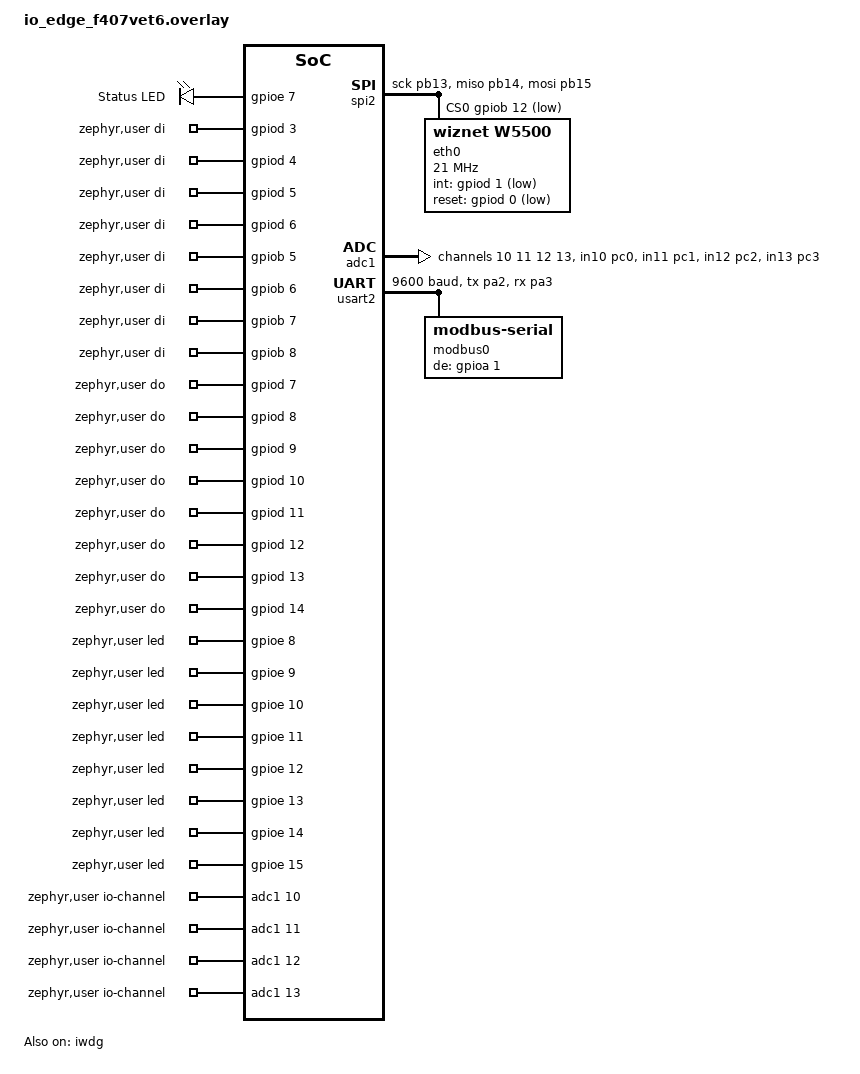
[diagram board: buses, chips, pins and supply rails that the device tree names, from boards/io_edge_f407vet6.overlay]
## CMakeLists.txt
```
# SPDX-License-Identifier: Apache-2.0

cmake_minimum_required(VERSION 3.20.0)

find_package(Zephyr REQUIRED HINTS $ENV{ZEPHYR_BASE})
project(canopen_io)

target_include_directories(app PRIVATE
  include
  src
  src/sys
  src/storage
  src/ftp_server
  src/web
)

target_sources(app PRIVATE
  src/main.c
  src/app_od.c
  src/fw_download.c
  src/fw_upgrade_state.c
  src/io/dio.c
  src/io/adc.c
  src/history/history.c
  src/settings/init.c
  src/modbus/function.c
  src/modbus/tcp.c
  src/modbus/rtu.c
  src/udp.c
  src/storage/fs_littlefs.c
  src/sys/time.c
  src/sys/watchdog.c
  src/ftp_server/ftpd.c
  objdict/OD.c
)

# 临时带宽测试端点: 仅在 CONFIG_CANOPEN_IO_BW_TEST 启用时编译
target_sources_ifdef(CONFIG_CANOPEN_IO_BW_TEST app PRIVATE src/bwtest.c)

# 应用调试 shell (io 命令), 依赖 SHELL (release 下自动裁剪)
target_sources_ifdef(CONFIG_CANOPEN_IO_SHELL app PRIVATE src/shell.c)

# Web 服务 (HTTP 页面 + REST + WebSocket), CONFIG_CANOPEN_IO_WEB 总开关
if(CONFIG_CANOPEN_IO_WEB)
  target_sources(app PRIVATE
    src/web/httpd.c
    src/web/ws_io.c
  )

  # Web UI: index.html → minify → gzip → .inc (编译进固件, HTTP 静态资源)
  set(gen_dir ${ZEPHYR_BINARY_DIR}/include/generated)
  set(min_html ${CMAKE_CURRENT_BINARY_DIR}/web_index_min.html)

  add_custom_command(OUTPUT ${min_html}
    COMMAND ${PYTHON_EXECUTABLE} ${CMAKE_CURRENT_SOURCE_DIR}/scripts/minify_html.py
            ${CMAKE_CURRENT_SOURCE_DIR}/src/web/index.html > ${min_html}
    DEPENDS ${CMAKE_CURRENT_SOURCE_DIR}/src/web/index.html
            ${CMAKE_CURRENT_SOURCE_DIR}/scripts/minify_html.py
    COMMENT "Minifying index.html"
  )
  add_custom_target(web_index_min DEPENDS ${min_html})

  generate_inc_file_for_target(app
    ${min_html}
    ${gen_dir}/web_index_html_gz.inc
    --gzip
  )

  # HTTP 资源描述 iterable section (服务 canopen_web 对应的链接段)
  zephyr_linker_sources(SECTIONS src/web/sections-rom.ld)
endif()

zephyr_include_directories(objdict)
```

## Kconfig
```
# SPDX-License-Identifier: Apache-2.0
# canopen-io application configuration

mainmenu "canopen-io"

source "Kconfig.zephyr"

# ==================== Modbus 寄存器数量 ====================
config MODBUS_HOLDING_REGISTER_NUMBERS
	int "Number of Modbus holding registers"
	default 16
	help
	  Size of the holding_reg[] array (16 holding registers, see include/init.h).

config MODBUS_INPUT_REGISTER_NUMBERS
	int "Number of Modbus input registers"
	default 6

# ==================== 采样线程 ====================
config CANOPEN_IO_DI_STACK_SIZE
	int "DI sampling thread stack size"
	default 512

config CANOPEN_IO_DI_PRIORITY
	int "DI sampling thread priority"
	default 2

config CANOPEN_IO_ADC_STACK_SIZE
	int "AI sampling thread stack size"
	default 512

config CANOPEN_IO_ADC_PRIORITY
	int "AI sampling thread priority"
	default 2

config CANOPEN_IO_INIT_PRIORITY_IO
	int "Digital/analog IO init priority"
	default 12

# ==================== 采样间隔钳位 ====================
config CANOPEN_IO_SAMPLE_MIN_MS
	int "Minimum sampling interval in ms"
	default 10

config CANOPEN_IO_SAMPLE_MAX_MS
	int "Maximum sampling interval in ms"
	default 5000

# ==================== 固件下载 ====================
config CANOPEN_IO_FW_REBOOT_DELAY_MS
	int "Delay before reboot after firmware confirm (ms)"
	default 500
	help
	  Grace period after writing 1 to OD 0x1F51 (firmware control),
	  so the SDO response and pending CAN traffic can flush before
	  the MCUboot swap reboot.

# ==================== SYS_INIT 优先级 ====================
config CANOPEN_IO_INIT_PRIORITY_FW_UPGRADE
	int "Firmware upgrade mutex init priority"
	default 3

config CANOPEN_IO_INIT_PRIORITY_HIST_WORKQ
	int "History work queue init priority"
	default 5

config CANOPEN_IO_INIT_PRIORITY_SETTINGS
	int "Settings subsystem init priority"
	default 8

config CANOPEN_IO_INIT_PRIORITY_RTU
	int "Modbus RTU init priority"
	default 13

config CANOPEN_IO_INIT_PRIORITY_CLOCK
	int "RTC clock init priority"
	default 41

config CANOPEN_IO_INIT_PRIORITY_WATCHDOG
	int "Watchdog init priority"
	default 50

config CANOPEN_IO_INIT_PRIORITY_WS
	int "WebSocket slots init priority"
	default 60

config CANOPEN_IO_INIT_PRIORITY_UDP
	int "UDP app handler init priority"
	default 80

config CANOPEN_IO_INIT_PRIORITY_LITTLEFS
	int "LittleFS init priority"
	default 99

# ==================== Modbus TCP ====================
config CANOPEN_IO_MODBUS_TCP_STACK
	int "Modbus TCP server thread stack size"
	default 2048

config CANOPEN_IO_MODBUS_TCP_PRIORITY
	int "Modbus TCP server thread priority"
	default 13

config CANOPEN_IO_MODBUS_TCP_SESSION_TIMEOUT
	bool "Close idle Modbus TCP client sessions"
	default n
	help
	  Enable application-level session timeout: client connections
	  idle for more than 60s are closed by the server. Disabled by
	  default; idle connections are then only handled by TCP
	  keepalive (SO_KEEPALIVE, ~45s probe cycle). Enable only if a
	  master misbehaves and holds connections without keepalive
	  support.

# ==================== FTP ====================
config CANOPEN_IO_FTP_STACK_SIZE
	int "FTP server thread stack size"
	default 4096

config CANOPEN_IO_FTP_PRIORITY
	int "FTP server thread priority"
	default 13

# ==================== Web 服务 (HTTP + WebSocket) ====================
menuconfig CANOPEN_IO_WEB
	bool "Enable web UI (HTTP server + REST API + WebSocket)"
	default y
	select HTTP_SERVER
	select HTTP_SERVER_WEBSOCKET
	help
	  Web management interface: embedded SPA page, REST API
	  (/api/*), WebSocket realtime push (/ws) and WebSocket firmware
	  upgrade. Disable to shrink image/RAM (~100KB flash, ~30KB RAM).

if CANOPEN_IO_WEB

config CANOPEN_IO_WEB_PORT
	int "Web server HTTP port"
	default 80
	help
	  HTTP server listen port for the web UI and REST API.

config CANOPEN_IO_WEB_WS_HANDLERS
	int "Number of concurrent WebSocket connections"
	default 1
	range 1 2
	help
	  Note the HTTP server websocket resource uses one shared parsing
	  buffer, so concurrent connections must be limited to 1.

config CANOPEN_IO_WEB_WS_STACK_SIZE
	int "WebSocket handler thread stack size"
	default 2048
	help
	  websocket_send_msg/recv_msg call chain is deep (PSA SHA-1,
	  TCP retry). 1152 causes stack canary fault -> warm reboot.

# ---- Zephyr HTTP 服务器参数覆盖 (默认值偏大, 按本应用裁剪省 RAM) ----

config HTTP_SERVER_VERSION_1
	default y

config HTTP_SERVER_VERSION_2
	default n

config HTTP_SERVER_MAX_CLIENTS
	default 4

config HTTP_SERVER_MAX_STREAMS
	default 1

config HTTP_SERVER_HUFFMAN_DECODE_BUFFER_SIZE
	default 64

config HTTP_SERVER_CLIENT_BUFFER_SIZE
	default 512

config HTTP_SERVER_CLIENT_INACTIVITY_TIMEOUT
	default 120

config HTTP_SERVER_STACK_SIZE
	default 4096

config HTTP_SERVER_MAX_URL_LENGTH
	default 96

config HTTP_SERVER_MAX_CONTENT_TYPE_LENGTH
	default 48

endif # CANOPEN_IO_WEB

# ==================== 应用调试 shell ====================
config CANOPEN_IO_SHELL
	bool "Enable 'io' application shell commands"
	depends on SHELL
	default y
	help
	  Debug shell (root command 'io') for DI/DO/AI inspection,
	  DO control, RS485/IP configuration, register access and
	  basic device info. Writes share the same code path as
	  Modbus/Web/UDP. Automatically disabled in release builds
	  (CONFIG_SHELL=n).

# ==================== 带宽测试 (临时, 测完移除) ====================
config CANOPEN_IO_BW_TEST
	bool "Enable temporary TCP echo bandwidth test endpoint"
	default n
	help
	  Temporary raw-TCP throughput measurement (echo on port 9900).
	  For measurement only, no auth; remove after use.

config CANOPEN_IO_BW_TEST_PORT
	int "BW test TCP port"
	default 9900
	depends on CANOPEN_IO_BW_TEST
```

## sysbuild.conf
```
SB_CONFIG_BOOTLOADER_MCUBOOT=y

# MCUboot 升级模式: SWAP_SCRATCH (支持回滚, 与其他应用一致)
SB_CONFIG_MCUBOOT_MODE_SWAP_SCRATCH=y

# 签名密钥 (每个应用独立 RSA-2048)
SB_CONFIG_BOOT_SIGNATURE_KEY_FILE="${APP_DIR}/boards/${BOARD}.pem"
SB_CONFIG_BOOT_SIGNATURE_TYPE_RSA=y
```

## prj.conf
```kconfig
# ==================== 基础 ====================
CONFIG_MAIN_STACK_SIZE=2048
CONFIG_HEAP_MEM_POOL_SIZE=16384
CONFIG_MULTITHREADING=y
CONFIG_SYSTEM_WORKQUEUE_STACK_SIZE=2048

# shell
CONFIG_SHELL=y

# ==================== CANopenNode v4 ====================
CONFIG_CANOPENNODE=y
CONFIG_CANOPEN_NODE_ID=10
CONFIG_CANOPENNODE_LOG_LEVEL_INF=y
# LSS 关闭 (v1 不做在线改节点号/波特率; 需 T1 的 CO_CONFIG_LSS=0 映射)
CONFIG_CANOPENNODE_LSS=n
CONFIG_CANOPENNODE_SDO_CLIENT=n
CONFIG_CANOPENNODE_GATEWAY_ASCII=n
# OD 持久化 (0x1010/0x1011, settings 后端; 仅通信参数条目)
CONFIG_CANOPENNODE_STORAGE=y
# CiA 303-3 红绿 LED
CONFIG_CANOPENNODE_LEDS=y
# SYNC 线程关闭: main 循环的 canopennode_process() 已驱动全部对象 (含 PDO),
# 模块 sync 线程同样调用完整 CO_process, 双开会双重驱动
CONFIG_CANOPENNODE_SYNC_THREAD=n
# SDO 块传输 + 900B 缓冲 (CiA 302 固件下载用, 需 T1 模块补丁; 900 为
# CO_SDOserver.c 块传输 #error 下限, 见 Global Constraints 修订记录)
CONFIG_CANOPENNODE_SDO_BLOCK=y
CONFIG_CANOPENNODE_SDO_BUFFER_SIZE=900

# ==================== CAN ====================
CONFIG_CAN=y
CONFIG_CAN_STM32_BXCAN=y
# CANopenNode 为 NMT/SYNC/RPDO/SDO/EMCY/TIME 等对象各申请一个硬件 RX 过滤器
# (本 OD 配置共 16 个), 而 bxCAN 驱动默认只开 14 个 std 过滤器。约束:
# std + 2*ext <= 28 且 ext=0 会触发 Zephyr 驱动的 -Wzero-length-bounds 告警,
# 故用 std=24 + ext=2 (占满 can1 的 14 个 filter bank, can2 未用)
CONFIG_CAN_STM32_BXCAN_MAX_STD_ID_FILTERS=24
CONFIG_CAN_STM32_BXCAN_MAX_EXT_ID_FILTERS=2

# ==================== 硬件驱动 (16DI/8DO/4AI, slot1 在外部 SPI NOR) ====================
CONFIG_GPIO=y
CONFIG_ADC=y
CONFIG_ADC_STM32=y
CONFIG_SPI=y
CONFIG_SPI_STM32=y
CONFIG_SPI_NOR=y
CONFIG_FLASH=y
CONFIG_FLASH_MAP=y
CONFIG_CLOCK_CONTROL=y
CONFIG_HWINFO=y

# ==================== 文件系统 (历史记录, 外部 W25Q128 littlefs 分区) ====================
CONFIG_FILE_SYSTEM=y
CONFIG_FILE_SYSTEM_LITTLEFS=y
CONFIG_FILE_SYSTEM_MKFS=y
CONFIG_FS_LITTLEFS_NUM_FILES=4
CONFIG_FS_LITTLEFS_NUM_DIRS=4
CONFIG_FS_LITTLEFS_CACHE_SIZE=1024

# ==================== 参数持久化 (settings + FCB -> storage_partition) ====================
# modbus/ 命名空间映射 holding_reg; canopen 命名空间为 CANopenNode OD 条目
CONFIG_SETTINGS=y
CONFIG_SETTINGS_RUNTIME=y
CONFIG_FCB=y

# ==================== 网络 (静态 IP, 无 DHCP) ====================
CONFIG_NETWORKING=y
CONFIG_NET_IPV4=y
CONFIG_NET_IPV6=n
CONFIG_NET_TCP=y
CONFIG_NET_UDP=y
CONFIG_NET_SOCKETS=y
CONFIG_NET_MAX_CONN=20
CONFIG_NET_MAX_CONTEXTS=20
CONFIG_ZVFS_POLL_MAX=20
# ===== 网络缓冲 =====
CONFIG_NET_PKT_RX_COUNT=16
CONFIG_NET_PKT_TX_COUNT=16
CONFIG_NET_BUF_RX_COUNT=16
CONFIG_NET_BUF_TX_COUNT=16
CONFIG_NET_BUF_DATA_SIZE=1024
CONFIG_NET_PKT_DTCM=y
CONFIG_NET_CONNECTION_MANAGER=y
CONFIG_NET_MGMT=y
CONFIG_NET_MGMT_EVENT=y
CONFIG_NET_MGMT_EVENT_STACK_SIZE=1024
CONFIG_NET_L2_ETHERNET=y
CONFIG_NET_ARP=y
# W5500 由设备树 wiznet,w5500 节点自动拉起, 无需显式 CONFIG_ETH_W5500

# 静态 IP: 禁 DHCP, 禁自动启动 (允许 net_if_up 前设 MAC)
CONFIG_NET_DHCPV4=n
CONFIG_ETH_NET_IF_NO_AUTO_START=y
CONFIG_NET_L2_ETHERNET_MGMT=y
CONFIG_ENTROPY_GENERATOR=y
CONFIG_POSIX_API=y

# ==================== Modbus (RAW ADU TCP + RTU) ====================
CONFIG_MODBUS=y
CONFIG_MODBUS_ROLE_SERVER=y
CONFIG_MODBUS_RAW_ADU=y
CONFIG_MODBUS_NUMOF_RAW_ADU=1

# TCP Keepalive 检测主站连接存活 (取代应用层心跳):
# 空闲 30s 后每 5s 发探测, 连续 3 次无响应则判定连接断开
CONFIG_NET_TCP_KEEPALIVE=y
CONFIG_NET_TCP_KEEPIDLE_DEFAULT=30
CONFIG_NET_TCP_KEEPINTVL_DEFAULT=5
CONFIG_NET_TCP_KEEPCNT_DEFAULT=3

# ==================== Web 服务 (HTTP 页面 + REST API + WebSocket) ====================
# 总开关: y 时编译 web 相关代码 (页面/API/WS/HTTP 升级), n 时完全不编。
# 固件升级仍可用 UDP/CANopen SDO 通道。
CONFIG_CANOPEN_IO_WEB=y

# ==================== 固件升级 ====================
# UDP 固件升级共享库 + 配置端口业务命令 (SYS_INIT 自启动)
CONFIG_UDP_FW_UPGRADE=y
CONFIG_UDP_FW_CONFIG_PORT=8600
CONFIG_UDP_FW_DATA_V2_CHUNK=1400
# RX 线程内会调 settings_save() (NVS/flash 驱动链), 1024 会栈溢出
CONFIG_UDP_FW_RX_STACK_SIZE=2048
CONFIG_UDP_FW_RX_PRIORITY=1
CONFIG_UDP_FW_UPGRADE_MAX_HANDLERS=4
CONFIG_UDP_FW_REPLY_BCAST_RESTRICT=y

# CANopen SDO 固件下载走 IMG_MANAGER (fw_download.c), 见下 MCUboot 段;
# CAN 总线本身由 CANopenNode 使用, 不启用 libs/can_fw_upgrade

CONFIG_IMG_MANAGER=y
CONFIG_STREAM_FLASH=y
CONFIG_REBOOT=y
CONFIG_CRC=y

# ==================== MCUboot ====================
CONFIG_BOOTLOADER_MCUBOOT=y
CONFIG_MCUBOOT_IMG_MANAGER=y

# ==================== 时间同步 (RTC) ====================
CONFIG_RTC=y
CONFIG_RTC_STM32=y

# ==================== 看门狗 ====================
CONFIG_WATCHDOG=y

# ==================== 日志 ====================
CONFIG_LOG=y
CONFIG_LOG_BUFFER_SIZE=4096
CONFIG_LOG_DEFAULT_LEVEL=3
CONFIG_LOG_TIMESTAMP_USE_REALTIME=y
CONFIG_POSIX_C_LANG_SUPPORT_R=y
CONFIG_LOG_OUTPUT_FORMAT_DATE_TIMESTAMP=y
CONFIG_LOG_OUTPUT_TIMEZONE_OFFSET=8

# ==================== 调试 ====================
CONFIG_THREAD_NAME=y
CONFIG_THREAD_MONITOR=y
CONFIG_THREAD_STACK_INFO=y
CONFIG_SHELL_BACKEND_SERIAL=y
CONFIG_SHELL_VT100_COLORS=y
CONFIG_SHELL_TAB=y
CONFIG_NET_SHELL=y
CONFIG_FLASH_SHELL=y
CONFIG_FLASH_MAP_SHELL=y
CONFIG_RTC_SHELL=y
CONFIG_SETTINGS_SHELL=y
CONFIG_FAULT_DUMP=2
```

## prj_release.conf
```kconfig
# canopen-io 发布模式配置 (替换 prj.conf: -DCONF_FILE=prj_release.conf)
# 关闭 LOG/SHELL/调试, 精简网络缓冲, 减小镜像体积。功能配置与 prj.conf 一致。

# ==================== 基础 ====================
CONFIG_MAIN_STACK_SIZE=2048
CONFIG_HEAP_MEM_POOL_SIZE=16384
CONFIG_MULTITHREADING=y
CONFIG_SYSTEM_WORKQUEUE_STACK_SIZE=2048
CONFIG_POSIX_API=y
CONFIG_COMMON_LIBC_MALLOC_ARENA_SIZE=0

# ==================== CANopenNode v4 ====================
CONFIG_CANOPENNODE=y
CONFIG_CANOPEN_NODE_ID=10
CONFIG_CANOPENNODE_LSS=n
CONFIG_CANOPENNODE_SDO_CLIENT=n
CONFIG_CANOPENNODE_GATEWAY_ASCII=n
CONFIG_CANOPENNODE_STORAGE=y
CONFIG_CANOPENNODE_LEDS=y
CONFIG_CANOPENNODE_SYNC_THREAD=n
CONFIG_CANOPENNODE_SDO_BLOCK=y
CONFIG_CANOPENNODE_SDO_BUFFER_SIZE=900

# ==================== CAN ====================
CONFIG_CAN=y
CONFIG_CAN_STM32_BXCAN=y
CONFIG_CAN_STM32_BXCAN_MAX_STD_ID_FILTERS=24
CONFIG_CAN_STM32_BXCAN_MAX_EXT_ID_FILTERS=2

# ==================== 硬件驱动 ====================
CONFIG_GPIO=y
CONFIG_ADC=y
CONFIG_ADC_STM32=y
CONFIG_SPI=y
CONFIG_SPI_STM32=y
CONFIG_SPI_NOR=y
CONFIG_FLASH=y
CONFIG_FLASH_MAP=y
CONFIG_CLOCK_CONTROL=y
CONFIG_HWINFO=y

# ==================== 文件系统 ====================
CONFIG_FILE_SYSTEM=y
CONFIG_FILE_SYSTEM_LITTLEFS=y
CONFIG_FILE_SYSTEM_MKFS=y
CONFIG_FS_LITTLEFS_NUM_FILES=4
CONFIG_FS_LITTLEFS_NUM_DIRS=4
CONFIG_FS_LITTLEFS_CACHE_SIZE=1024

# ==================== 参数持久化 ====================
CONFIG_SETTINGS=y
CONFIG_SETTINGS_RUNTIME=y
CONFIG_FCB=y

# ==================== 网络 (静态 IP, 无 DHCP) ====================
CONFIG_NETWORKING=y
CONFIG_NET_IPV4=y
CONFIG_NET_IPV6=n
CONFIG_NET_TCP=y
CONFIG_NET_UDP=y
CONFIG_NET_SOCKETS=y
CONFIG_NET_MAX_CONN=20
CONFIG_NET_MAX_CONTEXTS=20
CONFIG_ZVFS_POLL_MAX=20
CONFIG_NET_PKT_RX_COUNT=8
CONFIG_NET_PKT_TX_COUNT=8
CONFIG_NET_BUF_RX_COUNT=12
CONFIG_NET_BUF_TX_COUNT=12
CONFIG_NET_BUF_DATA_SIZE=256
CONFIG_NET_PKT_DTCM=y
CONFIG_NET_CONNECTION_MANAGER=y
CONFIG_NET_MGMT=y
CONFIG_NET_MGMT_EVENT=y
CONFIG_NET_MGMT_EVENT_STACK_SIZE=1024
CONFIG_NET_L2_ETHERNET=y
CONFIG_NET_ARP=y
CONFIG_NET_DHCPV4=n
CONFIG_ETH_NET_IF_NO_AUTO_START=y
CONFIG_NET_L2_ETHERNET_MGMT=y
CONFIG_ENTROPY_GENERATOR=y

# ==================== Modbus (RAW ADU TCP + RTU) ====================
CONFIG_MODBUS=y
CONFIG_MODBUS_ROLE_SERVER=y
CONFIG_MODBUS_RAW_ADU=y
CONFIG_MODBUS_NUMOF_RAW_ADU=1

# TCP Keepalive 检测主站连接存活 (取代应用层心跳):
# 空闲 30s 后每 5s 发探测, 连续 3 次无响应则判定连接断开
CONFIG_NET_TCP_KEEPALIVE=y
CONFIG_NET_TCP_KEEPIDLE_DEFAULT=30
CONFIG_NET_TCP_KEEPINTVL_DEFAULT=5
CONFIG_NET_TCP_KEEPCNT_DEFAULT=3

# ==================== Web 服务 ====================
CONFIG_CANOPEN_IO_WEB=n

# ==================== 固件升级 (UDP 共享库 + CiA 302 SDO 下载) ====================
CONFIG_UDP_FW_UPGRADE=y
CONFIG_UDP_FW_CONFIG_PORT=8600
CONFIG_UDP_FW_RX_STACK_SIZE=1024
CONFIG_UDP_FW_RX_PRIORITY=8
CONFIG_UDP_FW_UPGRADE_MAX_HANDLERS=4
CONFIG_UDP_FW_REPLY_BCAST_RESTRICT=y

CONFIG_IMG_MANAGER=y
CONFIG_STREAM_FLASH=y
CONFIG_REBOOT=y
CONFIG_CRC=y

# ==================== MCUboot ====================
CONFIG_BOOTLOADER_MCUBOOT=y
CONFIG_MCUBOOT_IMG_MANAGER=y

# ==================== 时间同步 (RTC) ====================
CONFIG_RTC=y
CONFIG_RTC_STM32=y

# ==================== 看门狗 ====================
CONFIG_WATCHDOG=y

# ==================== 发布裁剪 ====================
CONFIG_LOG=n
CONFIG_SHELL=n
CONFIG_THREAD_MONITOR=n
CONFIG_THREAD_NAME=y
CONFIG_THREAD_STACK_INFO=y
CONFIG_FAULT_DUMP=1
```

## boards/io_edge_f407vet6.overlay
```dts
/*
 * canopen-io application overlay
 *
 * 应用专属外设 (板 DTS 仅含 MCUboot/flash 分区/can1/console):
 *   - SPI2 + W5500 以太网 (PB13/14/15, CS=PB12, RST=PD0, INT=PD1)
 *   - ADC1 四通道 (PC0-PC3, IN10-13): AI1/AI2 电流, AI3/AI4 电压
 *   - USART2 + RS485 Modbus RTU (PA2/PA3, DE=PA1)
 *   - 16 路 DI / 8 路 DO / 8 路 LED (zephyr,user 节点)
 *   - RTC (LSI/LSE 驱动, 板 DTS 已启用) / IWDG 看门狗 / 状态 LED (PE7)
 *   - settings FCB 落外部 W25Q128 storage_partition (64KB @0x0E0000)
 */

#include <zephyr/dt-bindings/gpio/gpio.h>
#include <zephyr/dt-bindings/adc/adc.h>

/ {
	chosen {
		zephyr,ethernet = &eth0;
		zephyr,entropy = &rng;
		zephyr,settings-partition = &storage_partition;
	};

	aliases {
		led0 = &status_led;
		mcuboot-led0 = &status_led;
		green-led = &status_led;
		watchdog0 = &iwdg;
	};

	gpio-leds {
		compatible = "gpio-leds";
		/* 状态 LED: MCUboot 引导指示 + CiA 303-3 绿色 LED (NMT/心跳) */
		status_led: led_status {
			gpios = <&gpioe 7 GPIO_ACTIVE_HIGH>;
			label = "Status LED";
		};
	};

	zephyr,user {
		/* 16 路 DI (光耦隔离输入, 下拉): DI1-16 */
		di-gpios = <&gpiod 3 (GPIO_ACTIVE_HIGH | GPIO_PULL_DOWN)>,
			   <&gpiod 4 (GPIO_ACTIVE_HIGH | GPIO_PULL_DOWN)>,
			   <&gpiod 5 (GPIO_ACTIVE_HIGH | GPIO_PULL_DOWN)>,
			   <&gpiod 6 (GPIO_ACTIVE_HIGH | GPIO_PULL_DOWN)>,
			   <&gpiob 5 (GPIO_ACTIVE_HIGH | GPIO_PULL_DOWN)>,
			   <&gpiob 6 (GPIO_ACTIVE_HIGH | GPIO_PULL_DOWN)>,
			   <&gpiob 7 (GPIO_ACTIVE_HIGH | GPIO_PULL_DOWN)>,
			   <&gpiob 8 (GPIO_ACTIVE_HIGH | GPIO_PULL_DOWN)>,
			   <&gpiob 9 (GPIO_ACTIVE_HIGH | GPIO_PULL_DOWN)>,
			   <&gpiob 10 (GPIO_ACTIVE_HIGH | GPIO_PULL_DOWN)>,
			   <&gpiob 11 (GPIO_ACTIVE_HIGH | GPIO_PULL_DOWN)>,
			   <&gpiod 2 (GPIO_ACTIVE_HIGH | GPIO_PULL_DOWN)>,
			   <&gpiob 0 (GPIO_ACTIVE_HIGH | GPIO_PULL_DOWN)>,
			   <&gpiob 1 (GPIO_ACTIVE_HIGH | GPIO_PULL_DOWN)>,
			   <&gpiob 3 (GPIO_ACTIVE_HIGH | GPIO_PULL_DOWN)>,
			   <&gpiob 4 (GPIO_ACTIVE_HIGH | GPIO_PULL_DOWN)>;

		/* 8 路 DO (驱动输出): PD7-PD14 */
		do-gpios = <&gpiod 7 GPIO_ACTIVE_HIGH>,
			   <&gpiod 8 GPIO_ACTIVE_HIGH>,
			   <&gpiod 9 GPIO_ACTIVE_HIGH>,
			   <&gpiod 10 GPIO_ACTIVE_HIGH>,
			   <&gpiod 11 GPIO_ACTIVE_HIGH>,
			   <&gpiod 12 GPIO_ACTIVE_HIGH>,
			   <&gpiod 13 GPIO_ACTIVE_HIGH>,
			   <&gpiod 14 GPIO_ACTIVE_HIGH>;

		/* 8 路 LED (跟随 DO): PE8-PE15 */
		led-gpios = <&gpioe 8 GPIO_ACTIVE_HIGH>,
			    <&gpioe 9 GPIO_ACTIVE_HIGH>,
			    <&gpioe 10 GPIO_ACTIVE_HIGH>,
			    <&gpioe 11 GPIO_ACTIVE_HIGH>,
			    <&gpioe 12 GPIO_ACTIVE_HIGH>,
			    <&gpioe 13 GPIO_ACTIVE_HIGH>,
			    <&gpioe 14 GPIO_ACTIVE_HIGH>,
			    <&gpioe 15 GPIO_ACTIVE_HIGH>;

		/* 4 路 AI (ADC1 IN10-13); ai-coeffs 放大 1e4 倍: 电流 7.414 / 电压 3.7037 */
		io-channels = <&adc1 10>, <&adc1 11>, <&adc1 12>, <&adc1 13>;
		ai-coeffs = <7414>, <7414>, <3704>, <3704>;
	};
};

/* ============================================================
 * SPI2: W5500 以太网 (SCK=PB13, MISO=PB14, MOSI=PB15, CS=PB12)
 * RST=PD0, INT=PD1 (MAC 运行时由 UID 派生, local-mac-address 仅默认)
 * ============================================================ */
&spi2 {
	pinctrl-0 = <&spi2_sck_pb13 &spi2_miso_pb14 &spi2_mosi_pb15>;
	pinctrl-names = "default";
	cs-gpios = <&gpiob 12 (GPIO_ACTIVE_LOW | GPIO_PULL_UP)>;
	status = "okay";

	eth0: w5500@0 {
		compatible = "wiznet,w5500";
		reg = <0>;
		spi-max-frequency = <21000000>;
		int-gpios = <&gpiod 1 (GPIO_ACTIVE_LOW | GPIO_PULL_UP)>;
		reset-gpios = <&gpiod 0 GPIO_ACTIVE_LOW>;
		local-mac-address = [00 08 DC 01 02 03];
		status = "okay";
	};
};

/* ============================================================
 * ADC1: 4 通道模拟输入 (PC0-PC3 = IN10-13)
 * AI1/AI2 电流 4-20mA, AI3/AI4 电压 0-10V。系数在
 * /zephyr/user 的 ai-coeffs 中定义 (与 io-channels 顺序对应)。
 * ============================================================ */
&adc1 {
	status = "okay";
	pinctrl-0 = <&adc1_in10_pc0 &adc1_in11_pc1
		     &adc1_in12_pc2 &adc1_in13_pc3>;
	pinctrl-names = "default";
	st,adc-clock-source = "SYNC";
	st,adc-prescaler = <2>;
	#address-cells = <1>;
	#size-cells = <0>;

	channel@a {
		reg = <0xa>;
		zephyr,gain = "ADC_GAIN_1";
		zephyr,reference = "ADC_REF_INTERNAL";
		zephyr,acquisition-time = <ADC_ACQ_TIME_DEFAULT>;
		zephyr,resolution = <12>;
	};
	channel@b {
		reg = <0xb>;
		zephyr,gain = "ADC_GAIN_1";
		zephyr,reference = "ADC_REF_INTERNAL";
		zephyr,acquisition-time = <ADC_ACQ_TIME_DEFAULT>;
		zephyr,resolution = <12>;
	};
	channel@c {
		reg = <0xc>;
		zephyr,gain = "ADC_GAIN_1";
		zephyr,reference = "ADC_REF_INTERNAL";
		zephyr,acquisition-time = <ADC_ACQ_TIME_DEFAULT>;
		zephyr,resolution = <12>;
	};
	channel@d {
		reg = <0xd>;
		zephyr,gain = "ADC_GAIN_1";
		zephyr,reference = "ADC_REF_INTERNAL";
		zephyr,acquisition-time = <ADC_ACQ_TIME_DEFAULT>;
		zephyr,resolution = <12>;
	};
};

/* ============================================================
 * USART2: RS485 Modbus RTU (TX=PA2, RX=PA3, DE/RE=PA1)
 * ============================================================ */
&usart2 {
	pinctrl-0 = <&usart2_tx_pa2 &usart2_rx_pa3>;
	pinctrl-names = "default";
	current-speed = <9600>;
	status = "okay";

	modbus0 {
		compatible = "zephyr,modbus-serial";
		status = "okay";
		de-gpios = <&gpioa 1 GPIO_ACTIVE_HIGH>;
	};
};

/* ============================================================
 * IWDG: 独立看门狗
 * ============================================================ */
&iwdg {
	status = "okay";
};
```

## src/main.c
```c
/*
 * Copyright (c) 2026 Kabirz.
 * SPDX-License-Identifier: Apache-2.0
 *
 * canopen-io 主入口 (CANopen 内核 + io-edge-hub 网络功能合并)
 *   - CANopenNode v4 栈: canopennode_init + 1ms canopennode_process
 *   - storage: OD 持久化 (0x1010/0x1011, 仅通信参数条目; 应用参数经
 *     modbus/ settings 命名空间持久化, 见 app_od.c)
 *   - LEDs: CiA 303-3 状态指示
 *   - 网络: MAC 从 STM32 UID 派生, 静态 IP (holding_reg), IF_UP/DOWN
 *     事件处理 (断连安全清零 DO)
 *   - housekeeping 线程: IWDG 喂狗 + 延迟重启处理
 *   - 栈溢出保护 (k_sys_fatal_error_handler -> warm reboot)
 */

#include <string.h>
#include <zephyr/kernel.h>
#include <zephyr/device.h>
#include <zephyr/drivers/hwinfo.h>
#include <zephyr/app_version.h>
#include <zephyr/net/net_if.h>
#include <zephyr/net/net_mgmt.h>
#include <zephyr/net/net_event.h>
#include <zephyr/net/ethernet.h>
#include <zephyr/net/ethernet_mgmt.h>
#include <zephyr/posix/arpa/inet.h>
#include <zephyr/sys/reboot.h>
#include <zephyr/logging/log.h>
#include <zephyr/logging/log_ctrl.h>
#include <zephyr/settings/settings.h>

#include "canopennode.h"
#include "OD.h"
#include "fw_gitver.h"
#include "app_od.h"
#include "fw_download.h"
#include "init.h"
#include "watchdog.h"

#if defined(CONFIG_CANOPENNODE_STORAGE)
#include "storage/CO_storage.h"
#include "canopen_storage.h"
#endif

#if defined(CONFIG_CANOPENNODE_LEDS)
#include "canopen_leds.h"
#endif

#ifndef CONFIG_FLASH_SIZE
#define CONFIG_FLASH_SIZE 0x1000
#endif
#ifndef CONFIG_SRAM_SIZE
#define CONFIG_SRAM_SIZE 0x1000
#endif

LOG_MODULE_REGISTER(io_main, LOG_LEVEL_INF);

#define MAIN_LOOP_US          1000
#define CANOPEN_BITRATE_KBPS  250
/* housekeeping 周期 100ms (喂狗 + 延迟重启检查) */
#define HOUSEKEEP_PERIOD_MS   100

#if defined(CONFIG_CANOPENNODE_STORAGE)
static CO_storage_t storage;
static CO_storage_entry_t storage_entries[] = {
	/* 仅通信参数条目 (0x1010:1); 应用参数改由 settings (modbus/)
	 * 持久化, 见 app_od.c 的 0x2004 桥接说明 */
	{ .addr = &OD_PERSIST_COMM, .len = sizeof(OD_PERSIST_COMM),
	  .subIndexOD = 1, .attr = CO_storage_cmd | CO_storage_restore,
	  .addrNV = NULL },
};
#endif

/* ================================================================
 * 网络链路状态 / 延迟重启标志
 * ================================================================ */
static K_SEM_DEFINE(net_link_sem, 0, 1);
static volatile bool net_link_up;
static volatile bool reboot_pending;

bool net_link_is_up(void)
{
	return net_link_up;
}

void set_reboot_status(bool en)
{
	reboot_pending = en;
}

bool get_reboot_status(void)
{
	return reboot_pending;
}

/* ================================================================
 * 网络事件: IF_UP 唤醒 main; IF_DOWN 清零 DO + 标记链路断开
 * ================================================================
 * Zephyr net_mgmt mask 按 layer 精确匹配, IF_UP/IF_DOWN 同属 L2 可共用。
 */
static void net_if_event_handler(uint64_t mgmt_event, struct net_if *iface, void *info,
				 size_t info_length, void *user_data)
{
	ARG_UNUSED(info);
	ARG_UNUSED(info_length);
	ARG_UNUSED(user_data);
	ARG_UNUSED(iface);

	if (mgmt_event == NET_EVENT_IF_UP) {
		LOG_INF("net link up");
		net_link_up = true;
		k_sem_give(&net_link_sem);
	} else if (mgmt_event == NET_EVENT_IF_DOWN) {
		LOG_WRN("net link down");
		net_link_up = false;
		/* 工业安全: 链路断开立即清零所有 DO 输出 */
		update_holding_reg(HOLDING_DO_IDX, 0);
		mb_set_do(0);
	}
}

NET_MGMT_REGISTER_EVENT_HANDLER(net_if_handler_cb, NET_EVENT_IF_UP | NET_EVENT_IF_DOWN,
				net_if_event_handler, NULL);

/* ================================================================
 * MAC 派生: STM32 96-bit UID 折叠为唯一 MAC (前 3B = Wiznet OUI)
 * ================================================================ */
static void derive_mac_from_uid(uint8_t *mac)
{
	static const uint8_t oui[3] = {0x00, 0x08, 0xDC};
	uint8_t uid[12];
	ssize_t n = hwinfo_get_device_id(uid, sizeof(uid));

	mac[0] = oui[0];
	mac[1] = oui[1];
	mac[2] = oui[2];

	if (n >= (ssize_t)sizeof(uid)) {
		mac[3] = uid[0] ^ uid[3] ^ uid[6] ^ uid[9];
		mac[4] = uid[1] ^ uid[4] ^ uid[7] ^ uid[10];
		mac[5] = uid[2] ^ uid[5] ^ uid[8] ^ uid[11];
	} else {
		mac[3] = 0x01;
		mac[4] = 0x02;
		mac[5] = 0x03;
	}
}

/* ================================================================
 * 网络初始化: 唯一 MAC + 静态 IP (从 holding_reg)
 * ================================================================ */
static int net_init(void)
{
	struct net_if *iface = net_if_get_default();

	if (!iface) {
		LOG_ERR("no network interface");
		return -ENODEV;
	}

	/* MAC: 接口自动 up 已由 CONFIG_ETH_NET_IF_NO_AUTO_START 关闭,
	 * 接口 admin down, SET_MAC_ADDRESS 可直接成功, 之后 net_if_up。 */
	uint8_t mac[NET_ETH_ADDR_LEN];
	struct ethernet_req_params params = {0};

	derive_mac_from_uid(mac);
	memcpy(params.mac_address.addr, mac, NET_ETH_ADDR_LEN);
	if (net_mgmt(NET_REQUEST_ETHERNET_SET_MAC_ADDRESS, iface, &params, sizeof(params)) != 0) {
		LOG_WRN("set MAC failed, using DT default");
	} else {
		LOG_INF("MAC (UID): %02x:%02x:%02x:%02x:%02x:%02x", mac[0], mac[1], mac[2],
			mac[3], mac[4], mac[5]);
	}

	/* 静态 IP: 从 holding_reg 组装; 掩码固定 /24; 网关 = IP 末段改 1 */
	struct in_addr addr, mask, gw;
	uint8_t *a = (uint8_t *)&addr.s_addr;

	a[0] = (uint8_t)get_holding_reg(HOLDING_IP_OCTET1_IDX);
	a[1] = (uint8_t)get_holding_reg(HOLDING_IP_OCTET2_IDX);
	a[2] = (uint8_t)get_holding_reg(HOLDING_IP_OCTET3_IDX);
	a[3] = (uint8_t)get_holding_reg(HOLDING_IP_OCTET4_IDX);

	mask.s_addr = htonl(0xFFFFFF00);
	memcpy(&gw, &addr, sizeof(addr));
	((uint8_t *)&gw.s_addr)[3] = 1;

	net_if_ipv4_addr_add(iface, &addr, NET_ADDR_MANUAL, 0);
	net_if_ipv4_set_netmask_by_addr(iface, &addr, &mask);
	net_if_ipv4_set_gw(iface, &gw);

	char ip_str[INET_ADDRSTRLEN];

	inet_ntop(AF_INET, &addr, ip_str, sizeof(ip_str));
	LOG_INF("IP: %s/24", ip_str);

	net_if_up(iface);
	return 0;
}

/* ================================================================
 * housekeeping 线程: IWDG 喂狗 + 延迟重启
 *
 * main 运行 1ms 周期的 CANopen 主循环, 喂狗/重启移到此低优先级线程,
 * 保证 CANopen 时序不被打搅。状态指示交给 CiA 303-3 绿色 LED
 * (canopennode LEDs 模块按 NMT 状态驱动, 同为 PE7, 不重复控制)。
 * ================================================================ */
static void housekeeping_thread(void *p1, void *p2, void *p3)
{
	ARG_UNUSED(p1);
	ARG_UNUSED(p2);
	ARG_UNUSED(p3);

	while (1) {
		watchdog_feed();

		if (reboot_pending) {
			LOG_INF("delayed reboot");
			history_sync();
#ifdef CONFIG_LOG
			while (log_process()) {
			}
#endif
			k_msleep(500);
			sys_reboot(SYS_REBOOT_COLD);
		}

		k_msleep(HOUSEKEEP_PERIOD_MS);
	}
}

K_THREAD_DEFINE(housekeeping, 2048, housekeeping_thread, NULL, NULL, NULL, 10, 0, 0);

/* 栈溢出保护: K_ERR_STACK_CHK_FAIL -> warm reboot */
void k_sys_fatal_error_handler(unsigned int reason, const struct arch_esf *pEsf)
{
	ARG_UNUSED(pEsf);

	if (reason == K_ERR_STACK_CHK_FAIL) {
		LOG_ERR("Stack overflow detected, rebooting");
		sys_reboot(SYS_REBOOT_WARM);
	}

	while (true) {
		/* 其他 fatal: 停机 */
	}
}

/* ================================================================
 * main: 网络 + Web 启动后进入 CANopen 主循环
 * ================================================================ */
int main(void)
{
	CO_NMT_reset_cmd_t reset;
	bool first_boot = true;

	LOG_INF("build time: %s %s", __DATE__, __TIME__);
	LOG_INF("version: v%d.%d.%d_%s (node_id=%d)", APP_VERSION_MAJOR, APP_VERSION_MINOR,
		APP_PATCHLEVEL, FW_GIT_VERSION, CONFIG_CANOPEN_NODE_ID);
	LOG_INF("board: %s, clk: %dMHz", CONFIG_BOARD_TARGET,
		CONFIG_SYS_CLOCK_HW_CYCLES_PER_SEC / MHZ(1));
	LOG_INF("flash: %dKB, ram: %dKB", CONFIG_FLASH_SIZE, CONFIG_SRAM_SIZE);

#if defined(CONFIG_CANOPENNODE_STORAGE)
	/* settings/FCB 后端在 SYS_INIT(APPLICATION) 阶段已完成 subsys 初始化
	 * (见 src/settings/init.c), 这里兜底幂等调用一次 */
	if (settings_subsys_init() != 0) {
		LOG_ERR("settings subsystem init failed, OD persistence disabled");
	}
#endif

	net_init();

	/* 等待 PHY 链路 up (带超时兜底, 网线未插时不永久阻塞) */
	struct net_if *iface = net_if_get_default();

	if (iface != NULL && net_if_oper_state(iface) != NET_IF_OPER_UP) {
		if (k_sem_take(&net_link_sem, K_SECONDS(5)) != 0) {
			LOG_WRN("net link up timeout, continue anyway");
		}
	}

#ifdef CONFIG_CANOPEN_IO_WEB
	/* Web 服务在链路就绪后启动 (SYS_INIT 阶段 iface 未 up) */
	io_web_start();
#endif

	LOG_INF("canopen-io ready");

	while (1) {
		if (canopennode_init(CONFIG_CANOPEN_NODE_ID, CANOPEN_BITRATE_KBPS) != 0) {
			LOG_ERR("canopennode_init failed, retry in 1s");
			k_sleep(K_SECONDS(1));
			continue;
		}

#if defined(CONFIG_CANOPENNODE_STORAGE)
		/* 通信参数持久化条目 (0x1010:1) */
		uint32_t storage_init_error = 0;

		if (canopen_storage_init(&storage, CO->CANmodule, OD, storage_entries,
					 ARRAY_SIZE(storage_entries),
					 &storage_init_error) != 0) {
			LOG_WRN("storage init failed (entry %u)", storage_init_error);
		}
#endif

		app_od_init();
		fw_download_init();

#if defined(CONFIG_CANOPENNODE_LEDS)
		CO_LEDs_t leds;

		if (canopen_leds_init(&leds) != 0) {
			LOG_WRN("CANopen LED init failed");
		}
#endif

		/* 首轮: storage 已把持久化值覆盖进 OD, 再做一次完整的
		 * shutdown+init (等价通信复位), 让 PDO/心跳等用加载值重建 */
		if (first_boot) {
			first_boot = false;
			canopennode_shutdown();
			continue;
		}

		reset = CO_RESET_NOT;
		while (reset == CO_RESET_NOT) {
			reset = canopennode_process(MAIN_LOOP_US);
#if defined(CONFIG_CANOPENNODE_LEDS)
			canopen_leds_process(&leds, MAIN_LOOP_US,
					     CO_NMT_getInternalState(CO->NMT),
					     CO->em);
#endif
			k_sleep(K_USEC(MAIN_LOOP_US));
		}

		LOG_INF("CANopen reset: %s",
			reset == CO_RESET_COMM ? "COMM" : "APP");
		canopennode_shutdown();
	}

	return 0;
}
```

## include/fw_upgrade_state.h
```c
/*
 * Copyright (c) 2026 Kabirz.
 * SPDX-License-Identifier: Apache-2.0
 *
 * 固件升级互斥状态 - 多通道共享 (UDP/WebSocket/CANopen SDO CiA 302)
 * 当其中一个通道正在升级时，其他通道的升级请求应被拒绝。
 */

#ifndef __FW_UPGRADE_STATE_H__
#define __FW_UPGRADE_STATE_H__

#include <stdbool.h>

/* 升级通道标识 */
enum fw_upgrade_channel {
	FW_UPGRADE_CHANNEL_UDP = 0,
	FW_UPGRADE_CHANNEL_WS,
	FW_UPGRADE_CHANNEL_SDO, /* CANopen CiA 302-2 下载 (0x1F50/0x1F51) */
};

/**
 * @brief 尝试获取升级锁
 *
 * @param channel 请求升级的通道
 * @return true 获取成功，可以开始升级
 * @return false 已有其他通道正在升级
 */
bool fw_upgrade_try_lock(enum fw_upgrade_channel channel);

/**
 * @brief 释放升级锁
 *
 * @param channel 释放锁的通道
 */
void fw_upgrade_unlock(enum fw_upgrade_channel channel);

/**
 * @brief 检查是否有通道正在升级
 *
 * @return true 有通道正在升级
 * @return false 没有通道在升级
 */
bool fw_upgrade_is_active(void);

#endif /* __FW_UPGRADE_STATE_H__ */
```

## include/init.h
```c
/*
 * Copyright (c) 2026 Kabirz.
 * SPDX-License-Identifier: Apache-2.0
 *
 * canopen-io 公共定义: IO 通道数、Modbus 寄存器枚举、历史数据结构、
 * 全局访问函数声明。(移植自 io-edge-hub include/init.h, 去除 CAN 业务寄存器)
 *
 * holding_reg[] / input_reg[] 是唯一的参数与采样数据源:
 *   - settings (FCB) 直接映射 holding_reg[] (modbus/ 命名空间)
 *   - DI/AI 采样线程写入 input_reg[] 并镜像到 OD 0x2001 / 0x2000
 *   - DO 写 holding_reg[0x00] 经回调驱动 GPIO + LED + OD 0x2002 回读
 */

#ifndef __INIT_H__
#define __INIT_H__

#include <stdint.h>
#include <stdbool.h>
#include <stddef.h>
#include <time.h>

#ifdef __cplusplus
extern "C" {
#endif

/* ==================== IO 通道数量 ==================== */
#define DI_NUM 16 /* 数字输入 */
#define DO_NUM 8  /* 数字输出 */
#define AI_NUM 4  /* 模拟输入 */

/* ==================== Input Registers (只读, 6 个) ==================== */
enum input_reg_idx {
	INPUT_VER_IDX = 0, /* 固件版本 (MAJOR<<12 | MINOR<<8 | PATCH), 主/次<16 */
	INPUT_AI0_IDX,     /* AI1 电流 (0.01mA) */
	INPUT_AI1_IDX,     /* AI2 电流 (0.01mA) */
	INPUT_AI2_IDX,     /* AI3 电压 (0.01V) */
	INPUT_AI3_IDX,     /* AI4 电压 (0.01V) */
	INPUT_DI_IDX,      /* DI1-16 状态 bitmap */
};

/* ==================== Holding Registers (读写, 16 个) ==================== */
enum holding_reg_idx {
	HOLDING_DO_IDX = 0x00,      /* DO1-8 输出控制 (与 OD 0x2002 同步) */
	HOLDING_DI_ENABLE_IDX,      /* 0x01 DI1-16 使能 */
	HOLDING_AI_ENABLE_IDX,      /* 0x02 AI1-4 使能 */
	HOLDING_DI_SAMPLE_MS_IDX,   /* 0x03 DI 采样间隔 (ms) */
	HOLDING_AI_SAMPLE_MS_IDX,   /* 0x04 AI 采样间隔 (ms) */
	HOLDING_HISTORY_ENABLE_IDX, /* 0x05 历史保存使能 */
	HOLDING_RS485_BAUDRATE_IDX, /* 0x06 RS485 波特率 */
	HOLDING_SLAVE_ID_IDX,       /* 0x07 Modbus RTU Slave ID */
	HOLDING_IP_OCTET1_IDX,      /* 0x08 IP 段1 */
	HOLDING_IP_OCTET2_IDX,      /* 0x09 IP 段2 */
	HOLDING_IP_OCTET3_IDX,      /* 0x0A IP 段3 */
	HOLDING_IP_OCTET4_IDX,      /* 0x0B IP 段4 */
	HOLDING_TIMESTAMP_HI_IDX,   /* 0x0C 时间戳高16位 */
	HOLDING_TIMESTAMP_LO_IDX,   /* 0x0D 时间戳低16位 */
	HOLDING_CONFIG_SAVE_IDX,    /* 0x0E 参数保存触发 */
	HOLDING_REBOOT_IDX,         /* 0x0F 写1触发重启 */
};

/* ==================== 历史数据结构 (与 RT-Thread / PC 解析工具兼容) ==================== */
#define DI_TYPE 1
#define AI_TYPE 2

struct his_data {
	uint16_t type;       /* 1=DI, 2=AI */
	uint32_t timestamps; /* Unix 时间戳 */
	union {
		struct {
			uint16_t di_en_status; /* DI 使能 bitmap */
			uint16_t di_value;     /* DI 值 bitmap */
		} di;
		struct {
			uint16_t ai_en_status;     /* AI 使能 bitmap (低4位) */
			uint16_t ai_value[AI_NUM]; /* AI 值数组 */
		} ai;
	};
} __packed;

/* ==================== 寄存器访问 (function.c) ==================== */
uint16_t get_holding_reg(uint16_t addr);
int update_holding_reg(uint16_t addr, uint16_t reg);
uint16_t get_input_reg(uint16_t addr);
int update_input_reg(uint16_t addr, uint16_t reg);

/* 读 holding 寄存器 (与 Modbus FC03 同语义): 时间戳 0x0C/0x0D 返回
 * 实时系统时间, 供 Web /api/regs 与主站读到一致值 */
uint16_t io_read_holding(uint16_t addr);

/* 写 holding 寄存器 (带副作用: DO 输出/历史开关/设时间/保存参数/重启),
 * 与 Modbus FC06/FC16 同语义, 供 Web (HTTP/WS)/UDP 共用 */
int io_write_holding(uint16_t addr, uint16_t reg);

/* 单 DO 位写 (加锁读-改-写, 与 Modbus FC05 同语义), bit 0-7 对应 DO1-DO8 */
int io_write_do_bit(uint16_t bit, bool state);

/* 触发参数全量保存到 FCB (供 UDP handler 改参数后持久化) */
void holding_reg_save(void);

/* ==================== IP 合法性校验 ==================== */
/* IPv4 四段是否为可配置的单播地址。拒绝:
 *   - 末字节 0 (网络地址) / 0xFF (广播)
 *   - 首字节 0 (本网络) / 127 (环回) / 224-239 (组播 D 段) / >=240 (保留 E 段)
 */
bool ip_addr_valid(uint8_t a, uint8_t b, uint8_t c, uint8_t d);

/* 出厂恢复: 擦除 settings 分区并重启加载默认值 */
int settings_factory_reset(void);

/* ==================== DO 控制 (dio.c) ==================== */
/* 设置 DO 输出 + LED 联动 + OD 0x2002 回读/TPDO 触发,
 * val bit0-7 对应 DO1-DO8 (不经 holding_reg, 调用方已更新寄存器) */
int mb_set_do(uint16_t val);

/* ==================== 时间管理 (time.c) ==================== */
/* 设置 RTC + 系统时钟 (Modbus 0x0C/0x0D 或 UDP/Web 命令调用).
 * 返回 true=成功, false=参数越界或 RTC 写入失败. */
bool set_timestamp(time_t t);

/* ==================== 历史记录 (history.c) ==================== */
/* 开关历史写入 (holding_reg[0x05] 回调调用) */
void history_enable_write(bool en);
/* 刷出缓存: FTP/HTTP 读文件前调用, 确保数据落盘 */
void history_sync(void);
/* 异步提交一条历史记录 (DI/AI 采样线程调用) */
void send_history_data(const struct his_data *data);

/* ==================== 网络状态 (main.c) ==================== */
/* 网络链路是否就绪 (IF_UP/IF_DOWN 维护) */
bool net_link_is_up(void);

/* ==================== 延迟重启 (main.c) ==================== */
/* 设置延迟重启标志 (housekeeping 刷日志后重启), 供 UDP/Web 改 IP 等调用 */
void set_reboot_status(bool en);
bool get_reboot_status(void);

/* ==================== Web 服务 (web/httpd.c) ==================== */
#ifdef CONFIG_CANOPEN_IO_WEB
/* 启动 HTTP + WebSocket 服务 (main 在网络链路就绪后调用) */
int io_web_start(void);
#endif

#ifdef __cplusplus
}
#endif

#endif /* __INIT_H__ */
```

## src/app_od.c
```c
/*
 * Copyright (c) 2026 Kabirz.
 * SPDX-License-Identifier: Apache-2.0
 *
 * OD 扩展回调: 计测器对象的写副作用与触发语义
 * (参数源统一为 holding_reg[]/settings, 0x2004 成为寄存器的 OD 桥接视图)
 *   - 0x2000/0x2001: passthrough 扩展, 仅为启用 flagsPDO (采样线程
 *     OD_requestTPDO 触发事件型 TPDO 需要 entry->extension 存在)
 *   - 0x2002: 写后联动 DO GPIO/LED 并同步 holding_reg (SDO 写与 RPDO1
 *     收包共路; Modbus/Web 写则反向经 mb_set_do 镜像回 0x2002)
 *   - 0x2004: 应用参数桥接到 holding_reg (settings/FCB 持久化):
 *     :1/:2 使能位图 → 0x01/0x02; :3/:4 采样间隔(钳位) → 0x03/0x04;
 *     :5 写 1 → holding_reg_save(); :6 写 1 → 延迟冷重启.
 *     触发子索引写后回读恒为 0。持久化不再走 CANopenNode storage 的
 *     0x1010:2 (main 中仅保留通信参数条目), 改由 modbus/ settings 命名空间
 *     统一存储。
 */
#include <string.h>
#include <zephyr/kernel.h>
#include <zephyr/logging/log.h>

#include "CANopen.h"
#include "OD.h"
#include "io.h"
#include "app_od.h"
#include "fw_download.h"
#include "init.h"

LOG_MODULE_REGISTER(canopen_io_od, LOG_LEVEL_INF);

static ODR_t do_write(OD_stream_t *stream, const void *buf, OD_size_t count,
		      OD_size_t *countWritten)
{
	ODR_t ret = OD_writeOriginal(stream, buf, count, countWritten);

	if (ret == ODR_OK && count == sizeof(uint16_t)) {
		uint16_t val;

		memcpy(&val, buf, sizeof(val));
		co_io_set_do(val);
	}
	return ret;
}

/* SDO 读前把寄存器当前值刷进 OD 缓冲 (触发子索引 :5/:6 恒 0) */
static ODR_t cfg_read(OD_stream_t *stream, void *buf, OD_size_t count, OD_size_t *countRead)
{
	OD_PERSIST_APP.x2004_configParams[0] = get_holding_reg(HOLDING_DI_ENABLE_IDX);
	OD_PERSIST_APP.x2004_configParams[1] = get_holding_reg(HOLDING_AI_ENABLE_IDX);
	OD_PERSIST_APP.x2004_configParams[2] =
		(uint16_t)get_holding_reg(HOLDING_DI_SAMPLE_MS_IDX);
	OD_PERSIST_APP.x2004_configParams[3] =
		(uint16_t)get_holding_reg(HOLDING_AI_SAMPLE_MS_IDX);
	OD_PERSIST_APP.x2004_configParams[4] = 0;
	OD_PERSIST_APP.x2004_configParams[5] = 0;
	return OD_readOriginal(stream, buf, count, countRead);
}

static ODR_t cfg_write(OD_stream_t *stream, const void *buf, OD_size_t count,
		       OD_size_t *countWritten)
{
	uint16_t val;
	uint16_t sub = stream->subIndex;

	if (count != sizeof(val)) {
		return ODR_DATA_SHORT;
	}
	memcpy(&val, buf, sizeof(val));

	switch (sub) {
	case 1: /* DI 使能 → holding_reg[0x01] */
		update_holding_reg(HOLDING_DI_ENABLE_IDX, val);
		break;
	case 2: /* AI 使能 → holding_reg[0x02] */
		update_holding_reg(HOLDING_AI_ENABLE_IDX, val);
		break;
	case 3: /* DI 采样间隔 → holding_reg[0x03] (钳位) */
	case 4: /* AI 采样间隔 → holding_reg[0x04] (钳位) */
		if (val < CONFIG_CANOPEN_IO_SAMPLE_MIN_MS) {
			val = CONFIG_CANOPEN_IO_SAMPLE_MIN_MS;
		} else if (val > CONFIG_CANOPEN_IO_SAMPLE_MAX_MS) {
			val = CONFIG_CANOPEN_IO_SAMPLE_MAX_MS;
		}
		update_holding_reg(
			sub == 3 ? HOLDING_DI_SAMPLE_MS_IDX : HOLDING_AI_SAMPLE_MS_IDX, val);
		break;
	case 5: /* 保存触发: 全量持久化 modbus/ 参数 */
		if (fw_download_active()) {
			return ODR_DATA_DEV_STATE; /* 下载进行中, 拒绝存储 */
		}
		if (val == 1) {
			holding_reg_save();
			LOG_INF("params saved via OD 0x2004:5");
		}
		val = 0; /* 回读恒为 0 */
		break;
	case 6: /* 重启触发: 延迟冷重启 (housekeeping 排空日志后执行) */
		if (val == 1) {
			set_reboot_status(true);
		}
		val = 0; /* 回读恒为 0 */
		break;
	default:
		/* 子索引 0 (highest sub-index) 等: 原样透传 */
		return OD_writeOriginal(stream, buf, count, countWritten);
	}

	return OD_writeOriginal(stream, &val, sizeof(val), countWritten);
}

static OD_extension_t ext_2000 = {
	.object = NULL, .read = OD_readOriginal, .write = OD_writeOriginal};
static OD_extension_t ext_2001 = {
	.object = NULL, .read = OD_readOriginal, .write = OD_writeOriginal};
static OD_extension_t ext_2002 = {
	.object = NULL, .read = OD_readOriginal, .write = do_write};
static OD_extension_t ext_2004 = {
	.object = NULL, .read = cfg_read, .write = cfg_write};

void app_od_init(void)
{
	OD_extension_init(OD_ENTRY_H2000, &ext_2000);
	OD_extension_init(OD_ENTRY_H2001, &ext_2001);
	OD_extension_init(OD_ENTRY_H2002, &ext_2002);
	OD_extension_init(OD_ENTRY_H2004, &ext_2004);
}
```

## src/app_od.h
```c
/*
 * Copyright (c) 2026 Kabirz.
 * SPDX-License-Identifier: Apache-2.0
 */
#ifndef CANOPEN_IO_APP_OD_H
#define CANOPEN_IO_APP_OD_H

/* 安装厂家对象的 OD 扩展 (0x2000/0x2001 passthrough, 0x2002 DO 联动,
 * 0x2004 钳位+保存/重启触发). 幂等, 每个 CANopen 初始化周期调用一次. */
void app_od_init(void);

#endif /* CANOPEN_IO_APP_OD_H */
```

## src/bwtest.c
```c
/*
 * SPDX-License-Identifier: Apache-2.0
 *
 * 临时网络带宽测试端点 (路线 B): TCP echo server
 * (移植自 io-edge-hub src/bwtest.c, 原样保留)
 *
 *  - 监听 CONFIG_CANOPEN_IO_BW_TEST_PORT (默认 9900)
 *  - 单连接: 收多少回显多少 (echo), 用于测量协议栈原始 TCP 吞吐
 *  - Kconfig 开关 CONFIG_CANOPEN_IO_BW_TEST, 测完即移除, 不影响正式固件
 *  - 上位机用 python: socat/pv 或自写脚本计速
 *
 * 注意: 仅用于带宽测量, 无认证, 切勿部署到正式环境。
 */

#include <zephyr/kernel.h>
#include <zephyr/net/socket.h>
#include <zephyr/posix/netinet/in.h>
#include <zephyr/posix/sys/socket.h>
#include <zephyr/posix/unistd.h>
#include <zephyr/logging/log.h>

LOG_MODULE_REGISTER(io_bwtest, LOG_LEVEL_INF);

static void bw_echo_thread(void *p1, void *p2, void *p3)
{
	ARG_UNUSED(p1);
	ARG_UNUSED(p2);
	ARG_UNUSED(p3);

	int serv = socket(AF_INET, SOCK_STREAM, IPPROTO_TCP);

	if (serv < 0) {
		LOG_ERR("socket failed: %d", errno);
		return;
	}

	int opt = 1;

	(void)setsockopt(serv, SOL_SOCKET, SO_REUSEADDR, &opt, sizeof(opt));

	struct sockaddr_in addr = {
		.sin_family = AF_INET,
		.sin_addr.s_addr = htonl(INADDR_ANY),
		.sin_port = htons(CONFIG_CANOPEN_IO_BW_TEST_PORT),
	};

	if (bind(serv, (struct sockaddr *)&addr, sizeof(addr)) < 0 || listen(serv, 1) < 0) {
		LOG_ERR("bind/listen failed: %d", errno);
		close(serv);
		return;
	}

	LOG_INF("BW test echo server on port %d", CONFIG_CANOPEN_IO_BW_TEST_PORT);

	while (1) {
		int c = accept(serv, NULL, NULL);

		if (c < 0) {
			continue;
		}
		LOG_INF("BW test client connected");

		/* 模式: 首个字节 'R' = 只收不回 (测设备接收/下行);
		 * 其他 = echo 回显 (测双向) */
		uint8_t mode = 0;
		ssize_t first = recv(c, &mode, 1, 0);

		if (first != 1 || mode == 'R') {
			/* 只收模式: 吸流直到关闭 */
			static uint8_t sink[4096];
			ssize_t n;

			while ((n = recv(c, sink, sizeof(sink), 0)) > 0) {
				/* 丢弃 */
			}
			LOG_INF("BW sink done");
			close(c);
			continue;
		}

		/* echo 模式: 收多少回多少 */
		static uint8_t buf[4096];
		ssize_t n;

		while ((n = recv(c, buf, sizeof(buf), 0)) > 0) {
			ssize_t off = 0;

			while (off < n) {
				ssize_t w = send(c, buf + off, n - off, 0);

				if (w < 0) {
					goto done;
				}
				off += w;
			}
		}
done:
		LOG_INF("BW test client done");
		close(c);
	}
}

K_THREAD_DEFINE(bw_test, 4096, bw_echo_thread, NULL, NULL, NULL, 15, 0, 0);
```

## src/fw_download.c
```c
/*
 * Copyright (c) 2026 Kabirz.
 * SPDX-License-Identifier: Apache-2.0
 *
 * CiA 302-2 固件下载: OD 0x1F50 (固件数据, DOMAIN 流式) / 0x1F51 (固件控制)
 *
 * 状态机: IDLE --0x1F51=0--> READY --首笔 0x1F50--> STREAMING --0x1F51=1-->
 *         CONFIRMED --> 延迟重启 (MCUboot SWAP_SCRATCH 换固件并验签)
 *
 * 写入 slot1 用 flash_img 懒擦除 (stream_flash 按需擦扇区), 无整块预擦停顿;
 * 镜像为 MCUboot 签名 .bin, 设备端不验签, MCUboot 启动时验证, 失败自动回滚.
 * 传输中断 (SDO abort/超时) 后状态停留, 重写 0x1F51=0 复位重来, 不残留可
 * 启动的半包状态.
 *
 * 与其他升级通道 (UDP/WebSocket) 共用 fw_upgrade_state 互斥锁:
 * 进入下载模式时申请 FW_UPGRADE_CHANNEL_SDO 锁, 被占用则拒绝;
 * 确认升级成功后保持占用直到重启, 失败/复位后归还。
 */
#include <string.h>
#include <zephyr/kernel.h>
#include <zephyr/sys/reboot.h>
#include <zephyr/dfu/mcuboot.h>
#include <zephyr/dfu/flash_img.h>
#include <zephyr/storage/flash_map.h>
#include <zephyr/logging/log.h>

#include "CANopen.h"
#include "OD.h"
#include "fw_download.h"
#include "fw_upgrade_state.h"
#include "init.h"

LOG_MODULE_REGISTER(canopen_io_fw, LOG_LEVEL_INF);

static struct flash_img_context fw_img;
static enum fw_dl_state fw_state = FW_DL_IDLE;
static size_t fw_written;
/* 本模块是否已持有升级锁 (重复写 0x1F51=0 复位不重复申请) */
static bool sdo_lock_held;
static struct k_work_delayable fw_reboot_work;

static void fw_reboot_handler(struct k_work *work)
{
	ARG_UNUSED(work);
	LOG_INF("firmware confirmed, rebooting for MCUboot swap");
	history_sync();
	sys_reboot(SYS_REBOOT_COLD);
}

/* 0x1F50: SDO 流写 -> slot1 (flash_img 懒擦除) */
static ODR_t fw_data_write(OD_stream_t *stream, const void *buf, OD_size_t count,
			   OD_size_t *countWritten)
{
	if (fw_state != FW_DL_READY && fw_state != FW_DL_STREAMING) {
		return ODR_DEV_INCOMPAT; /* 未先写 0x1F51=0 进入下载模式 */
	}
	if (count == 0) {
		return ODR_OK;
	}
	if (flash_img_buffered_write(&fw_img, buf, count, false) != 0) {
		fw_state = FW_DL_ERROR;
		return ODR_DATA_TRANSF; /* SDO abort 0x08000020 */
	}
	fw_written += count;
	stream->dataOffset += count;
	fw_state = FW_DL_STREAMING;
	*countWritten = count;

	/* 末笔: SDO server 在传输结束时把 dataLength 置为总字节数 */
	if (stream->dataLength != 0 && stream->dataOffset >= stream->dataLength) {
		return ODR_OK;
	}
	return ODR_PARTIAL;
}

static ODR_t fw_ctrl_read(OD_stream_t *stream, void *buf, OD_size_t count,
			  OD_size_t *countRead)
{
	uint32_t val = (uint32_t)fw_state;

	if (count < sizeof(val)) {
		return ODR_DATA_SHORT;
	}
	memcpy(buf, &val, sizeof(val));
	*countRead = sizeof(val);
	return ODR_OK;
}

static ODR_t fw_ctrl_write(OD_stream_t *stream, const void *buf, OD_size_t count,
			   OD_size_t *countWritten)
{
	uint32_t val;

	if (count != sizeof(val)) {
		return ODR_DATA_SHORT;
	}
	memcpy(&val, buf, sizeof(val));

	if (val == 0) { /* 复位/进入下载模式 (中止在途传输也走这里) */
		/* 预擦除 slot1 尾部 trailer 区 (对齐 libs/can_fw_upgrade 的经验):
		 * trailer 扇区可能残留旧数据 (曾用其他固件升级过), 镜像体的懒擦除
		 * 覆盖不到, 残留会污染 boot_request_upgrade 写入的 trailer 导致
		 * MCUboot 判定 no-swap。只擦尾部 8KB (约百毫秒), 不阻塞 SDO 应答。
		 * 其他通道升级进行中则拒绝进入。 */
		const struct flash_area *fa;

		if (!sdo_lock_held) {
			if (!fw_upgrade_try_lock(FW_UPGRADE_CHANNEL_SDO)) {
				LOG_WRN("fw download: upgrade busy on other channel");
				return ODR_DEV_INCOMPAT;
			}
			sdo_lock_held = true;
		}
		if (flash_area_open(PARTITION_ID(slot1_partition), &fa) != 0) {
			goto error;
		}
		size_t trailer_sz = MIN(8192, fa->fa_size);
		int rc = flash_area_erase(fa, fa->fa_size - trailer_sz, trailer_sz);

		flash_area_close(fa);
		if (rc != 0) {
			goto error;
		}
		if (flash_img_init_id(&fw_img, PARTITION_ID(slot1_partition)) != 0) {
			goto error;
		}
		fw_written = 0;
		fw_state = FW_DL_READY;
		return OD_writeOriginal(stream, buf, count, countWritten);
	error:
		fw_state = FW_DL_ERROR;
		fw_upgrade_unlock(FW_UPGRADE_CHANNEL_SDO);
		sdo_lock_held = false;
		return ODR_HW;
	}
	if (val == 1) { /* 确认: flush + 请求升级 + 延迟重启 */
		if (fw_state != FW_DL_STREAMING || fw_written == 0) {
			fw_state = FW_DL_ERROR;
			if (sdo_lock_held) {
				fw_upgrade_unlock(FW_UPGRADE_CHANNEL_SDO);
				sdo_lock_held = false;
			}
			return ODR_DEV_INCOMPAT;
		}
		if (flash_img_buffered_write(&fw_img, NULL, 0, true) != 0) {
			fw_state = FW_DL_ERROR;
			if (sdo_lock_held) {
				fw_upgrade_unlock(FW_UPGRADE_CHANNEL_SDO);
				sdo_lock_held = false;
			}
			return ODR_DATA_TRANSF;
		}
		if (boot_request_upgrade(BOOT_UPGRADE_PERMANENT) != 0) {
			fw_state = FW_DL_ERROR;
			if (sdo_lock_held) {
				fw_upgrade_unlock(FW_UPGRADE_CHANNEL_SDO);
				sdo_lock_held = false;
			}
			return ODR_HW;
		}
		fw_state = FW_DL_CONFIRMED;
		/* 升级锁保持占用直到重启, 阻塞 UDP/Web 通道并发升级 */
		(void)OD_writeOriginal(stream, buf, count, countWritten);
		k_work_schedule(&fw_reboot_work,
				K_MSEC(CONFIG_CANOPEN_IO_FW_REBOOT_DELAY_MS));
		return ODR_OK;
	}
	return ODR_INVALID_VALUE;
}

static OD_extension_t ext_1F50 = {
	.object = NULL, .read = NULL, .write = fw_data_write};
static OD_extension_t ext_1F51 = {
	.object = NULL, .read = fw_ctrl_read, .write = fw_ctrl_write};

bool fw_download_active(void)
{
	return fw_state == FW_DL_READY || fw_state == FW_DL_STREAMING ||
	       fw_state == FW_DL_CONFIRMED;
}

void fw_download_init(void)
{
	k_work_init_delayable(&fw_reboot_work, fw_reboot_handler);

	OD_extension_init(OD_ENTRY_H1F50, &ext_1F50);
	OD_extension_init(OD_ENTRY_H1F51, &ext_1F51);
	LOG_INF("CiA 302 firmware download ready (0x1F50/0x1F51 -> slot1)");
}
```

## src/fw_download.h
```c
/*
 * Copyright (c) 2026 Kabirz.
 * SPDX-License-Identifier: Apache-2.0
 *
 * CiA 302-2 固件下载: OD 0x1F50 (固件数据) / 0x1F51 (固件控制)
 */
#ifndef CANOPEN_IO_FW_DOWNLOAD_H
#define CANOPEN_IO_FW_DOWNLOAD_H

#include <stdbool.h>

/* OD 0x1F51 读出的状态值 */
enum fw_dl_state {
	FW_DL_IDLE = 0,
	FW_DL_READY = 1,
	FW_DL_STREAMING = 2,
	FW_DL_CONFIRMED = 3,
	FW_DL_ERROR = 4,
};

void fw_download_init(void);
bool fw_download_active(void);

#endif /* CANOPEN_IO_FW_DOWNLOAD_H */
```

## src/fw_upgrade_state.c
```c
/*
 * Copyright (c) 2026 Kabirz.
 * SPDX-License-Identifier: Apache-2.0
 *
 * 固件升级互斥状态 - 多通道 (UDP/WebSocket/CANopen SDO) 共享
 * (移植自 io-edge-hub src/fw_upgrade_state.c, CAN 通道改为 SDO 注册)
 */

#include "fw_upgrade_state.h"
#include <zephyr/kernel.h>
#ifdef CONFIG_UDP_FW_UPGRADE
#include <udp_fw_upgrade.h>
#endif

static enum fw_upgrade_channel current_channel = FW_UPGRADE_CHANNEL_UDP;
static bool upgrade_active = false;
static struct k_mutex lock;

#ifdef CONFIG_UDP_FW_UPGRADE
/* UDP 固件升级库开始前申请升级锁 (拒绝其他通道并发升级) */
static bool fw_pre_start_hook(void)
{
	return fw_upgrade_try_lock(FW_UPGRADE_CHANNEL_UDP);
}

/* UDP 库会话失败 (擦除/写入/校验失败) 时释放锁; FW_END 成功不回调,
 * 锁保持占用直到重启, 防其他通道在重启窗口内抢占擦 slot1 */
static void fw_fail_hook(void)
{
	fw_upgrade_unlock(FW_UPGRADE_CHANNEL_UDP);
}
#endif

static int fw_upgrade_state_init(void)
{
	k_mutex_init(&lock);
#ifdef CONFIG_UDP_FW_UPGRADE
	udp_fw_add_pre_start_hook(fw_pre_start_hook);
	udp_fw_add_fail_hook(fw_fail_hook);
#endif
	return 0;
}

SYS_INIT(fw_upgrade_state_init, APPLICATION, CONFIG_CANOPEN_IO_INIT_PRIORITY_FW_UPGRADE);

bool fw_upgrade_try_lock(enum fw_upgrade_channel channel)
{
	k_mutex_lock(&lock, K_FOREVER);
	if (upgrade_active) {
		k_mutex_unlock(&lock);
		return false;
	}
	upgrade_active = true;
	current_channel = channel;
	k_mutex_unlock(&lock);
	return true;
}

void fw_upgrade_unlock(enum fw_upgrade_channel channel)
{
	k_mutex_lock(&lock, K_FOREVER);
	if (current_channel == channel) {
		upgrade_active = false;
	}
	k_mutex_unlock(&lock);
}

bool fw_upgrade_is_active(void)
{
	k_mutex_lock(&lock, K_FOREVER);
	bool active = upgrade_active;

	k_mutex_unlock(&lock);
	return active;
}
```
